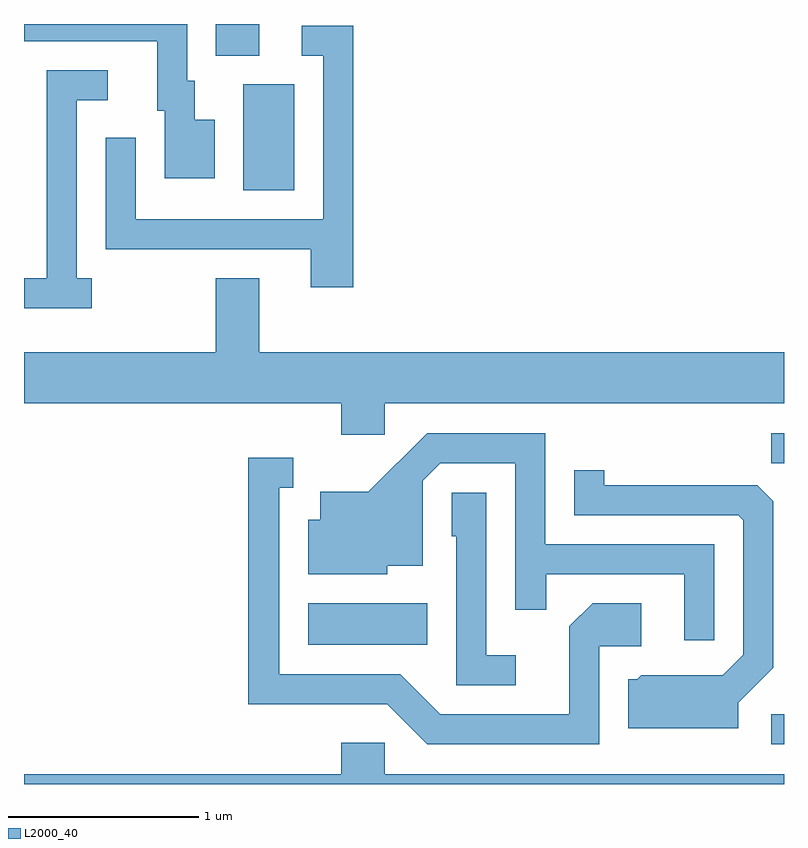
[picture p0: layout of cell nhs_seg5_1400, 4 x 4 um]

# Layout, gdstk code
import gdstk
lib = gdstk.Library(unit=1e-6, precision=1e-09)
def R(c, l, rs):  # rectangles x0, y0, x1, y1
    for r in rs: c.add(gdstk.rectangle(r[:2], r[2:], *l))
def P(c, l, *ps):  # polygons
    for p in ps: c.add(gdstk.Polygon(p, *l))
L2000_40 = (2000, 40)

nhs_seg5_1400 = lib.new_cell('nhs_seg5_1400')
R(nhs_seg5_1400, L2000_40, [(229.543,1508.281,229.611,1508.439), (227.106,1508.806,227.734,1509.024), (229.543,1509.761,229.611,1509.919), (226.766,1511.196,227.034,1511.754), (226.621,1511.906,226.849,1512.072)])
P(nhs_seg5_1400, L2000_40, [(226.614,1511.569),(226.509,1511.569),(226.509,1511.774),(226.469,1511.774),(226.469,1512.072),(225.611,1512.072),(225.611,1511.981),(226.311,1511.981),(226.311,1511.616),(226.351,1511.616),(226.351,1511.261),(226.614,1511.261)],
  [(227.344,1512.064),(227.073,1512.064),(227.073,1511.906),(227.186,1511.906),(227.186,1511.044),(226.199,1511.044),(226.199,1511.473),(226.041,1511.473),(226.041,1510.886),(227.121,1510.886),(227.121,1510.686),(227.344,1510.686)],
  [(225.968,1510.734),(225.889,1510.734),(225.889,1511.671),(226.053,1511.671),(226.053,1511.829),(225.731,1511.829),(225.731,1510.734),(225.611,1510.734),(225.611,1510.576),(225.968,1510.576)],
  [(227.509,1510.076),(229.611,1510.076),(229.611,1510.344),(226.849,1510.344),(226.849,1510.734),(226.621,1510.734),(226.621,1510.344),(225.611,1510.344),(225.611,1510.076),(227.281,1510.076),(227.281,1509.911),(227.509,1509.911)],
  [(229.244,1509.334),(228.354,1509.334),(228.354,1509.919),(227.734,1509.919),(227.424,1509.609),(227.171,1509.609),(227.171,1509.464),(227.106,1509.464),(227.106,1509.176),(227.524,1509.176),(227.524,1509.221),(227.709,1509.221),(227.709,1509.669),(227.802,1509.761),(228.196,1509.761),(228.196,1508.988),(228.359,1508.988),(228.359,1509.176),(229.086,1509.176),(229.086,1508.828),(229.244,1508.828)],
  [(228.639,1508.796),(228.859,1508.796),(228.859,1509.024),(228.604,1509.024),(228.481,1508.902),(228.481,1508.439),(227.802,1508.439),(227.592,1508.649),(226.954,1508.649),(226.954,1509.631),(227.028,1509.631),(227.028,1509.789),(226.791,1509.789),(226.791,1508.491),(227.524,1508.491),(227.734,1508.281),(228.639,1508.281)],
  [(229.369,1508.499),(229.554,1508.684),(229.554,1509.559),(229.469,1509.644),(228.664,1509.644),(228.664,1509.723),(228.506,1509.723),(228.506,1509.486),(229.369,1509.486),(229.396,1509.459),(229.396,1508.752),(229.289,1508.644),(228.859,1508.644),(228.839,1508.624),(228.791,1508.624),(228.791,1508.366),(229.369,1508.366)],
  [(228.198,1508.749),(228.044,1508.749),(228.044,1509.604),(227.861,1509.604),(227.861,1509.376),(227.886,1509.376),(227.886,1508.591),(228.198,1508.591)],
  [(229.611,1508.124),(227.509,1508.124),(227.509,1508.289),(227.281,1508.289),(227.281,1508.124),(225.611,1508.124),(225.611,1508.072),(229.611,1508.072)])

lib.write_gds('nhs_seg5_1400.gds')
